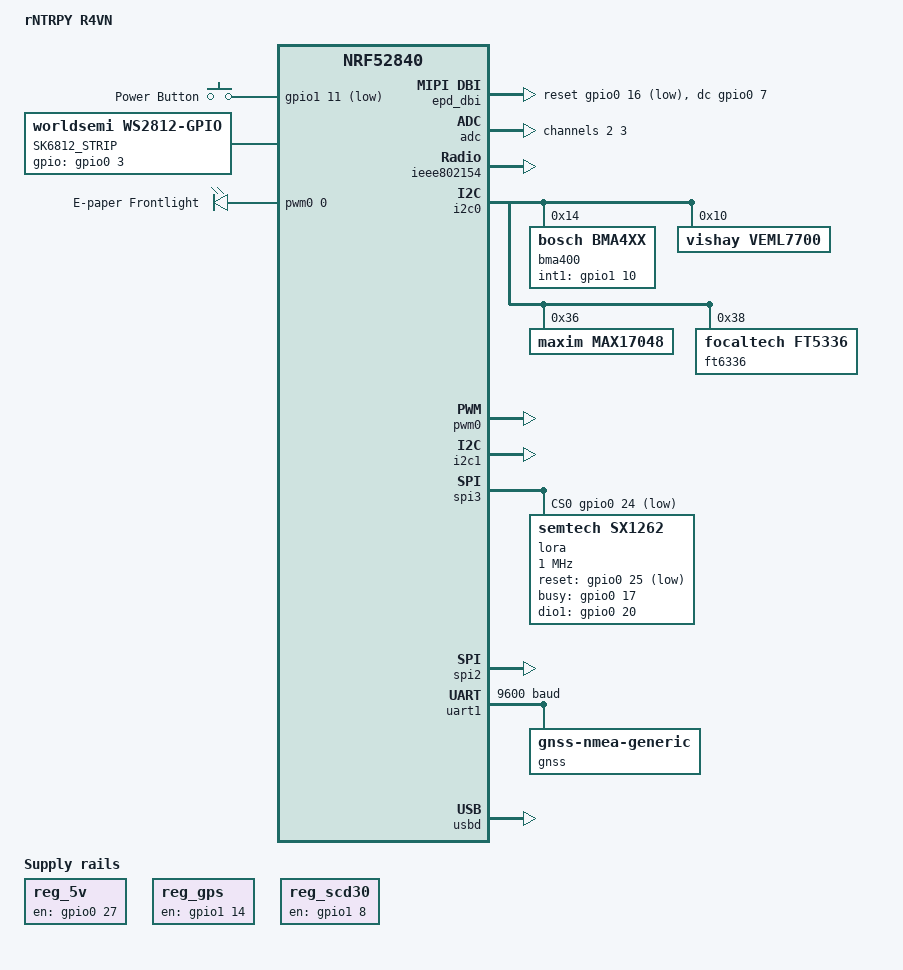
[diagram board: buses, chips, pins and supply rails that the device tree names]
/*
 * Copyright (c) 2024 MASSDRIVER EI (massdriver.space)
 * Copyright (c) 2018-2023 Nordic Semiconductor ASA
 * Copyright (c) 2017 Linaro Limited
 *
 * SPDX-License-Identifier: Apache-2.0
 */

/dts-v1/;
#include <nordic/nrf52840_qiaa.dtsi>
#include "rntrpy_r4vn-pinctrl.dtsi"
#include <zephyr/dt-bindings/input/input-event-codes.h>
#include <zephyr/dt-bindings/led/led.h>
#include <zephyr/dt-bindings/pwm/pwm.h>
#include <dt-bindings/lora/sx126x.h>

/ {
	model = "rNTRPY R4VN";
	compatible = "others,rntrpy-r4vn";

	chosen {
		zephyr,sram = &sram0;
		zephyr,flash = &flash0;
		zephyr,ieee802154 = &ieee802154;
	};

	/*
	 * Load switches gating the peripherals. They are left off at boot;
	 * the application enables a rail with regulator_enable() only while
	 * the peripheral behind it is in use, to preserve power.
	 */
	reg_5v: regulator-5v {
		compatible = "regulator-fixed";
		regulator-name = "reg_5v";
		enable-gpios = <&gpio0 27 GPIO_ACTIVE_HIGH>;
	};

	reg_gps: regulator-gps {
		compatible = "regulator-fixed";
		regulator-name = "reg_gps";
		enable-gpios = <&gpio1 14 GPIO_ACTIVE_HIGH>;
	};

	reg_scd30: regulator-scd30 {
		compatible = "regulator-fixed";
		regulator-name = "reg_scd30";
		enable-gpios = <&gpio1 8 GPIO_ACTIVE_HIGH>;
	};

	board_controls {
		compatible = "rntrpy,r4vn-board-controls";

		gps_rst: gps_rst {
			gpios = <&gpio1 12 GPIO_ACTIVE_LOW>;
			label = "GPS Reset";
		};

		bat_en1: bat_en1 {
			gpios = <&gpio0 28 GPIO_ACTIVE_HIGH>;
			label = "BQ24074 EN1";
		};

		bat_en2: bat_en2 {
			gpios = <&gpio0 30 GPIO_ACTIVE_HIGH>;
			label = "BQ24074 EN2";
		};

		bat_pgood: bat_pgood {
			gpios = <&gpio0 29 GPIO_ACTIVE_LOW>;
			label = "BAT Power Good";
		};

		bat_charging: bat_charging {
			gpios = <&gpio0 31 GPIO_ACTIVE_LOW>;
			label = "BAT Charging";
		};

		fuel_alert: fuel_alert {
			gpios = <&gpio0 2 GPIO_ACTIVE_LOW>;
			label = "Fuel Gauge Alert";
		};
	};

	buttons {
		compatible = "gpio-keys";

		button0: button_0 {
			gpios = <&gpio1 11 GPIO_ACTIVE_LOW>;
			label = "Power Button";
			zephyr,code = <INPUT_KEY_0>;
		};
	};

	led_strip: led_strip {
		compatible = "worldsemi,ws2812-gpio";
		label = "SK6812_STRIP";
		gpios = <&gpio0 3 GPIO_ACTIVE_HIGH>;
		chain-length = <5>;
		color-mapping = <LED_COLOR_ID_GREEN
				 LED_COLOR_ID_RED
				 LED_COLOR_ID_BLUE
				 LED_COLOR_ID_WHITE>;
		status = "okay";
	};

	/*
	 * E-paper FPC (24-pin, SSD16xx panels) on SPIM2, write-only. The
	 * panel node is added by the application as a child of this bus;
	 * its BUSY line is P0.15 (busy-gpios = <&gpio0 15 GPIO_ACTIVE_HIGH>).
	 */
	epd_dbi: mipi-dbi-epd {
		compatible = "zephyr,mipi-dbi-spi";
		spi-dev = <&spi2>;
		dc-gpios = <&gpio0 7 GPIO_ACTIVE_HIGH>;
		reset-gpios = <&gpio0 16 GPIO_ACTIVE_LOW>;
		write-only;
		#address-cells = <1>;
		#size-cells = <0>;
	};

	/* E-paper frontlight, always powered, 1 kHz PWM on P0.21 */
	pwmleds {
		compatible = "pwm-leds";

		frontlight: frontlight {
			pwms = <&pwm0 0 PWM_MSEC(1) PWM_POLARITY_NORMAL>;
			label = "E-paper Frontlight";
		};
	};

	aliases {
		led-strip = &led_strip;
		button0 = &button0;
		sw0 = &button0;
		watchdog0 = &wdt0;
		accel0 = &bma400;
		gps-rst = &gps_rst;
		bat-en1 = &bat_en1;
		bat-en2 = &bat_en2;
		bat-pgood = &bat_pgood;
		bat-charging = &bat_charging;
		fuel-alert = &fuel_alert;
		frontlight = &frontlight;
		touch = &ft6336;
	};
};

&adc {
	status = "okay";
	#address-cells = <1>;
	#size-cells = <0>;

	/* USB-C CC1 sense (AIN2 / P0.04) */
	channel@2 {
		reg = <2>;
		zephyr,gain = "ADC_GAIN_1_6";
		zephyr,reference = "ADC_REF_INTERNAL";
		zephyr,acquisition-time = <ADC_ACQ_TIME_DEFAULT>;
		zephyr,input-positive = <NRF_SAADC_AIN2>;
		zephyr,resolution = <12>;
	};

	/* USB-C CC2 sense (AIN3 / P0.05) */
	channel@3 {
		reg = <3>;
		zephyr,gain = "ADC_GAIN_1_6";
		zephyr,reference = "ADC_REF_INTERNAL";
		zephyr,acquisition-time = <ADC_ACQ_TIME_DEFAULT>;
		zephyr,input-positive = <NRF_SAADC_AIN3>;
		zephyr,resolution = <12>;
	};
};

&gpiote {
	status = "okay";
};

&uicr {
	nfct-pins-as-gpios;
	gpio-as-nreset;
};

&gpio0 {
	status = "okay";
};

&gpio1 {
	status = "okay";
};

&ieee802154 {
	status = "okay";
};

/* I2C-1: BMA400 accel, VEML7700 light, MAX17048 fuel gauge, FT6336U touch */
&i2c0 {
	compatible = "nordic,nrf-twim";
	status = "okay";
	pinctrl-0 = <&i2c0_default>;
	pinctrl-1 = <&i2c0_sleep>;
	pinctrl-names = "default", "sleep";

	bma400: bma4xx@14 {
		compatible = "bosch,bma4xx";
		reg = <0x14>;
		int1-gpios = <&gpio1 10 GPIO_ACTIVE_HIGH>;
	};

	veml7700: veml7700@10 {
		compatible = "vishay,veml7700";
		reg = <0x10>;
	};

	max17048: max17048@36 {
		compatible = "maxim,max17048";
		reg = <0x36>;
	};

	/* E-paper touch panel; INT and RST are not connected, the driver polls. */
	ft6336: ft6336@38 {
		compatible = "focaltech,ft5336";
		reg = <0x38>;
	};
};

&pwm0 {
	status = "okay";
	pinctrl-0 = <&pwm0_default>;
	pinctrl-1 = <&pwm0_sleep>;
	pinctrl-names = "default", "sleep";
};

/* I2C-2: reserved for the SCD30 (no upstream driver yet) */
&i2c1 {
	compatible = "nordic,nrf-twim";
	status = "okay";
	pinctrl-0 = <&i2c1_default>;
	pinctrl-1 = <&i2c1_sleep>;
	pinctrl-names = "default", "sleep";
};

&spi3 {
	compatible = "nordic,nrf-spim";
	rx-delay-supported;
	rx-delay = <2>;
	status = "okay";
	pinctrl-0 = <&lora_spi_pins>;
	pinctrl-1 = <&lora_spi_pins_sleep>;
	pinctrl-names = "default", "sleep";
	cs-gpios = <&gpio0 24 GPIO_ACTIVE_LOW>;

	lora: sx1262@0 {
		compatible = "semtech,sx1262";
		reg = <0>;
		spi-max-frequency = <1000000>;
		reset-gpios = <&gpio0 25 GPIO_ACTIVE_LOW>;
		busy-gpios = <&gpio0 17 GPIO_ACTIVE_HIGH>;
		dio1-gpios = <&gpio0 20 GPIO_ACTIVE_HIGH>;
		dio2-tx-enable;
		dio3-tcxo-voltage = <SX126X_DIO3_TCXO_1V8>;
		tcxo-power-startup-delay-ms = <5>;
		status = "okay";
	};
};

&spi2 {
	compatible = "nordic,nrf-spim";
	status = "okay";
	pinctrl-0 = <&epd_spi_pins>;
	pinctrl-1 = <&epd_spi_pins_sleep>;
	pinctrl-names = "default", "sleep";
	cs-gpios = <&gpio0 26 GPIO_ACTIVE_LOW>;
};

&uart1 {
	compatible = "nordic,nrf-uarte";
	status = "okay";
	current-speed = <9600>;
	pinctrl-0 = <&gnss_uart_pins>;
	pinctrl-1 = <&gnss_uart_pins_sleep>;
	pinctrl-names = "default", "sleep";

	gnss: gnss-nmea-generic {
		compatible = "gnss-nmea-generic";
		status = "okay";
	};
};

zephyr_udc0: &usbd {
	status = "okay";
};
#include <../boards/common/usb/cdc_acm_serial.dtsi>
